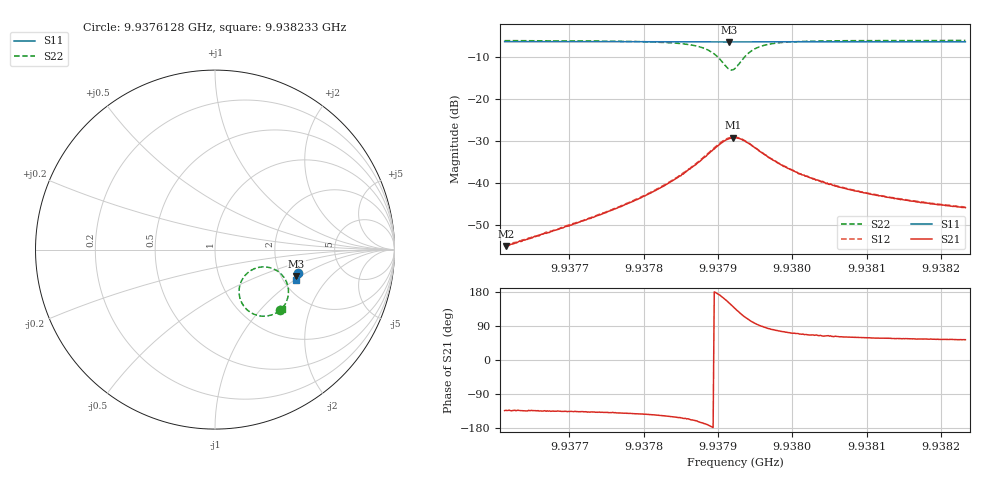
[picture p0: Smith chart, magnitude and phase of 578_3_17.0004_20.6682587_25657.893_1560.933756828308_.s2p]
#  HZ  S  RI  R  50.00
! Rohde & Schwarz Vector Network Analyzer
! Rohde-Schwarz,ZNB20-2Port,1311601062101988,3.16
! Created: UTC 3/20/2024, 11:18:01 PM
! freq[Hz]  re:S11  im:S11  re:S21  im:S21  re:S12  im:S12  re:S22  im:S22
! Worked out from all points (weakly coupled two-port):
!   401 points, 9.9376128 GHz to 9.938233 GHz, reference 50 ohm
!   highest |S21| = -29.20 dB at 9.9379198 GHz (marker M1); lowest = -55.1 dB at 9.9376143 GHz (marker M2)
!   lowest |S11| = -6.4 dB at 9.9379152 GHz (marker M3), VSWR 2.82, Z = 121 - j45.9 ohm
!   |S11| at or under -10 dB: nowhere
!   |S22| runs from -13.1 to -6.1 dB; largest |S21 - S12| = 0.0016
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9.9376128e9  0.4646 -0.129  -0.00123 -0.0013  -0.00123 -0.00129  0.361 -0.3391
9.93761435e9  0.4647 -0.129  -0.00119 -0.00129  -0.00123 -0.00131  0.3608 -0.3393
9.93771669e9  0.4622 -0.1359  -0.00255 -0.00242  -0.00258 -0.00241  0.3436 -0.351
9.93777096e9  0.4607 -0.1397  -0.00407 -0.00339  -0.00419 -0.00339  0.3275 -0.3596
9.93782058e9  0.4592 -0.143  -0.00708 -0.00478  -0.00728 -0.00476  0.299 -0.3686
9.93785314e9  0.4579 -0.1455  -0.0114 -0.00556  -0.0118 -0.00566  0.2611 -0.3707
9.93788105e9  0.4561 -0.1473  -0.0195 -0.00424  -0.0201 -0.00405  0.198 -0.3497
9.93789656e9  0.4548 -0.1479  -0.0262 0.000767  -0.0269 0.00137  0.1507 -0.2992
9.93790741e9  0.454 -0.1475  -0.0298 0.00885  -0.0303 0.01  0.1342 -0.2284
9.93791516e9  0.4536 -0.1471  -0.0293 0.0166  -0.0293 0.018  0.1516 -0.167
9.93791981e9  0.4537 -0.1469  -0.0273 0.0213  -0.0267 0.0228  0.1771 -0.1342
9.93792292e9  0.4539 -0.1469  -0.0247 0.024  -0.0244 0.0253  0.1989 -0.117
9.93793067e9  0.4544 -0.1465  -0.0177 0.0282  -0.017 0.0292  0.2618 -0.0965
9.93794152e9  0.4552 -0.1468  -0.00811 0.0283  -0.00735 0.0289  0.3358 -0.1123
9.93795703e9  0.4558 -0.1484  -0.00015 0.0235  0.000496 0.0238  0.3894 -0.1626
9.93796943e9  0.456 -0.1497  0.00257 0.0196  0.00311 0.0197  0.4044 -0.1978
9.93798804e9  0.4558 -0.1513  0.00417 0.0152  0.00476 0.0153  0.4094 -0.2346
9.93800665e9  0.4554 -0.1527  0.00453 0.0125  0.00495 0.0124  0.4074 -0.2587
9.93802681e9  0.455 -0.1543  0.00458 0.0103  0.0048 0.0102  0.4027 -0.2764
9.93806402e9  0.454 -0.1569  0.00428 0.00777  0.00444 0.0078  0.3948 -0.2965
9.9381307e9  0.4522 -0.1615  0.00363 0.0056  0.00381 0.0056  0.3831 -0.3161
9.93823304e9  0.4494 -0.1681  0.00301 0.00407  0.00311 0.00406  0.3708 -0.3317
